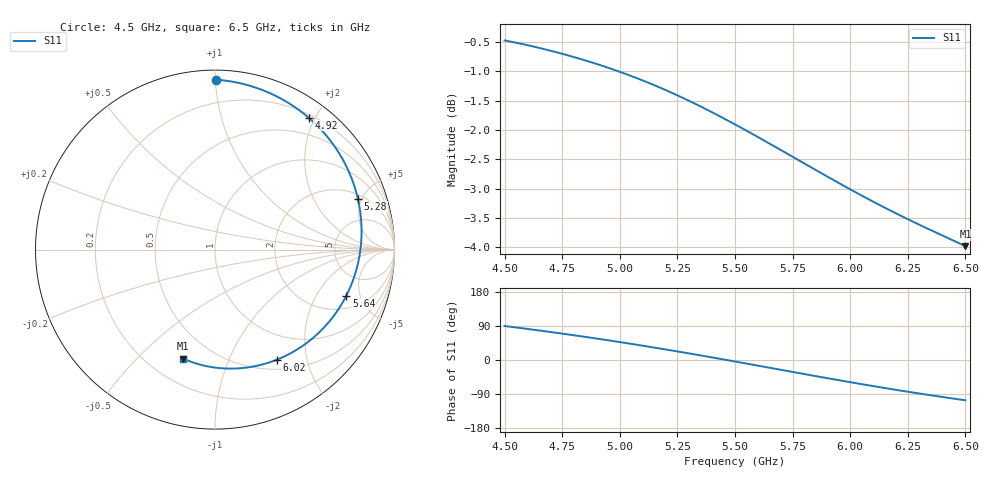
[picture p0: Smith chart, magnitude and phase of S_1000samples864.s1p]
! TOUCHSTONE file generated by CST MICROWAVE STUDIO
! Date and time: Sat Oct 29 15:32:26 2022
! Project name: L.cst
! Parameters = {Di=1.27; Epsilon_r=1.56; InnerDiameter=1.27; Length=2; Lf=10; Lg=60; OuterConductorThickness=0.2921; OuterDiameter=3.6; Wf=3; Wp=41.2; de=1.5; df=6.8; g=0.8; gx=2.18793; gy=3.30418; h=2.34; hf=1.524; px=10.3763; py=8.56489; w=9.7; wx=8.18832; wy=5.26071}
! Header version: 2018
! Port assignment regex: !\s*Touchstone port\s*([0-9]+)\s*=\s*(CST MWS port|CST DS port)\s*([0-9]+|Zmin|Zmax)\s*\(\"(.*)\"\)(\s*mode\s*([0-9]+))?.*
! Touchstone port assignment:
! Touchstone port 1 = CST MWS port 1 ("")
# GHz S DB R 50
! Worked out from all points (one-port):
!   101 points, 4.5 GHz to 6.5 GHz, reference 50 ohm
!   lowest |S11| = -4.0 dB at 6.5 GHz (marker M1), VSWR 4.44, Z = 17.1 - j34.6 ohm
!   |S11| at or under -10 dB: nowhere
!   S11 on the Smith chart (normalised r, x): 4.5 GHz: 0.06, +1.00; 4.92 GHz: 0.24, +1.91; 5.28 GHz: 2.36, +4.66; 5.64 GHz: 2.89, -3.72; 6.02 GHz: 0.63, -1.52; 6.5 GHz: 0.34, -0.69
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4.5  -0.48 89.7
4.58  -0.54 83.5
4.64  -0.59 78.7
4.76  -0.71 68.7
4.84  -0.80 61.8
4.92  -0.90 54.7
5  -1.01 47.3
5.08  -1.13 39.6
5.14  -1.22 33.7
5.2  -1.32 27.7
5.26  -1.43 21.6
5.28  -1.47 19.5
5.34  -1.58 13.2
5.4  -1.70 6.8
5.5  -1.91 -4.0
5.56  -2.03 -10.5
5.64  -2.21 -19.4
5.76  -2.48 -32.6
5.82  -2.61 -39.2
5.88  -2.75 -45.7
5.94  -2.88 -52.2
6  -3.01 -58.5
6.02  -3.05 -60.6
6.08  -3.18 -66.8
6.14  -3.30 -72.9
6.26  -3.54 -84.7
6.38  -3.76 -95.8
6.5  -3.98 -106.3
